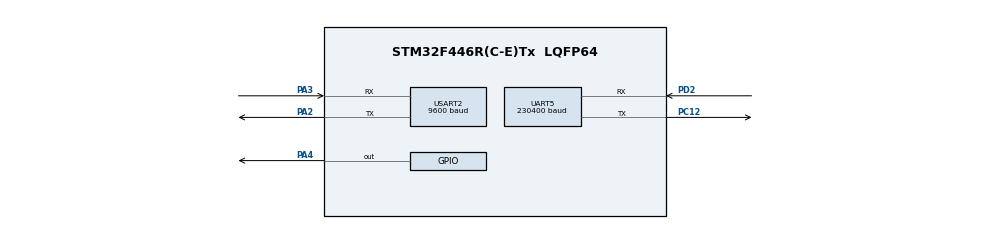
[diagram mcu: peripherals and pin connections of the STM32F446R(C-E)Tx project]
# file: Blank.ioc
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Mcu.Family=STM32F4
Mcu.Name=STM32F446R(C-E)Tx
Mcu.Package=LQFP64
NVIC.PriorityGroup=NVIC_PRIORITYGROUP_4
NVIC.UART5_IRQn=true\:0\:0\:false\:false\:true\:true
NVIC.USART2_IRQn=true\:0\:0\:false\:false\:true\:true
PA2.Mode=Asynchronous
PA2.Signal=USART2_TX
PA3.Mode=Asynchronous
PA3.Signal=USART2_RX
PA4.Signal=GPIO_Output
PC12.Mode=Asynchronous
PC12.Signal=UART5_TX
PD2.Mode=Asynchronous
PD2.Signal=UART5_RX
ProjectManager.HeapSize=0x200
ProjectManager.StackSize=0x400
ProjectManager.TargetToolchain=SW4STM32
RCC.CortexFreq_Value=16000000
RCC.USBFreq_Value=96000000
RCC.VCOOutputFreq_Value=192000000
UART5.BaudRate=230400
UART5.VirtualMode=Asynchronous
USART2.BaudRate=9600
USART2.VirtualMode=VM_ASYNC
board=Blank

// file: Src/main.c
/**
  ******************************************************************************
  * @file           : main.c
  * @brief          : Main program body
  ******************************************************************************
  ** This notice applies to any and all portions of this file
  * that are not between comment pairs USER CODE BEGIN and
  * USER CODE END. Other portions of this file, whether
  * inserted by the user or by software development tools
  * are owned by their respective copyright owners.
  *
  * COPYRIGHT(c) 2018 STMicroelectronics
  *
  * Redistribution and use in source and binary forms, with or without modification,
  * are permitted provided that the following conditions are met:
  *   1. Redistributions of source code must retain the above copyright notice,
  *      this list of conditions and the following disclaimer.
  *   2. Redistributions in binary form must reproduce the above copyright notice,
  *      this list of conditions and the following disclaimer in the documentation
  *      and/or other materials provided with the distribution.
  *   3. Neither the name of STMicroelectronics nor the names of its contributors
  *      may be used to endorse or promote products derived from this software
  *      without specific prior written permission.
  *
  * THIS SOFTWARE IS PROVIDED BY THE COPYRIGHT HOLDERS AND CONTRIBUTORS "AS IS"
  * AND ANY EXPRESS OR IMPLIED WARRANTIES, INCLUDING, BUT NOT LIMITED TO, THE
  * IMPLIED WARRANTIES OF MERCHANTABILITY AND FITNESS FOR A PARTICULAR PURPOSE ARE
  * DISCLAIMED. IN NO EVENT SHALL THE COPYRIGHT HOLDER OR CONTRIBUTORS BE LIABLE
  * FOR ANY DIRECT, INDIRECT, INCIDENTAL, SPECIAL, EXEMPLARY, OR CONSEQUENTIAL
  * DAMAGES (INCLUDING, BUT NOT LIMITED TO, PROCUREMENT OF SUBSTITUTE GOODS OR
  * SERVICES; LOSS OF USE, DATA, OR PROFITS; OR BUSINESS INTERRUPTION) HOWEVER
  * CAUSED AND ON ANY THEORY OF LIABILITY, WHETHER IN CONTRACT, STRICT LIABILITY,
  * OR TORT (INCLUDING NEGLIGENCE OR OTHERWISE) ARISING IN ANY WAY OUT OF THE USE
  * OF THIS SOFTWARE, EVEN IF ADVISED OF THE POSSIBILITY OF SUCH DAMAGE.
  *
  ******************************************************************************
  */
#include "main.h"
#include "stm32f4xx_hal.h"
#include "usart.h"
#include "gpio.h"

/* USER CODE BEGIN Includes */
#include <robotGoal.h>
#include <robotState.h>
#include <stdint.h>
#include "serial.h"
#include "string.h"
/* USER CODE END Includes */

/* USER CODE BEGIN PV */
/* Private variables ---------------------------------------------------------*/

volatile RobotGoal robotGoal, *robotGoalPtr;
volatile unsigned char robotGoalData[sizeof(RobotGoal)];
volatile unsigned char *robotGoalDataPtr;

volatile unsigned char buf[23];

volatile unsigned startSeqCount;
volatile unsigned totalBytesRead;

volatile RobotState robotState, *robotStatePtr;

#define __DYNAMIXEL_TRANSMIT(port, pinNum) HAL_GPIO_WritePin(port, pinNum, 1) // Set data direction pin high (TX)
#define __DYNAMIXEL_RECEIVE(port, pinNum) HAL_GPIO_WritePin(port, pinNum, 0) // Set data direction pin low (RX)
/* USER CODE END PV */

void SystemClock_Config(void);

/* USER CODE BEGIN PFP */
/* Private function prototypes -----------------------------------------------*/

/* USER CODE END PFP */

/* USER CODE BEGIN 0 */
volatile uint8_t flag;
/* USER CODE END 0 */

int main(void)
{

  /* MCU Configuration----------------------------------------------------------*/

  /* Reset of all peripherals, Initializes the Flash interface and the Systick. */
  HAL_Init();

  /* Configure the system clock */
  SystemClock_Config();

  /* Initialize all configured peripherals */
  MX_GPIO_Init();
  MX_UART5_Init();
  MX_USART2_UART_Init();
  /* USER CODE BEGIN 2 */

//  uint8_t buff[84];
//  while(1){
//	  HAL_UART_Receive(&huart5, buff, sizeof(buff), 100);
//	  HAL_UART_Transmit(&huart5, buff, sizeof(buff), 100);
//  }
  	__DYNAMIXEL_RECEIVE(GPIOA, GPIO_PIN_4);

	// Receiving
	robotGoal.id = 0;
	robotGoalPtr = &robotGoal;
	robotGoalDataPtr = robotGoalData;
	startSeqCount = 0;
	totalBytesRead = 0;

	// Sending
	robotState.id = 0;
	robotStatePtr = &robotState;
	robotState.start_seq = UINT32_MAX;
	robotState.end_seq = 0;

  /* USER CODE END 2 */

  /* Infinite loop */
  /* USER CODE BEGIN WHILE */
	while (1) {
		flag = 0;
		HAL_UART_Receive_IT(&huart5, (unsigned char *) buf, sizeof(buf));
		while(!flag);

		robotState.id = robotGoal.id;
		for (int i = 0; i < 80; ++i) {
			robotState.msg[i] = robotGoal.msg[i];
		}
		HAL_UART_Transmit(&huart5, (uint8_t *)robotStatePtr, sizeof(RobotState), 100);
  /* USER CODE END WHILE */

	}

}

void SystemClock_Config(void)
{

  RCC_OscInitTypeDef RCC_OscInitStruct;
  RCC_ClkInitTypeDef RCC_ClkInitStruct;

    /**Configure the main internal regulator output voltage
    */
  __HAL_RCC_PWR_CLK_ENABLE();

  __HAL_PWR_VOLTAGESCALING_CONFIG(PWR_REGULATOR_VOLTAGE_SCALE3);

    /**Initializes the CPU, AHB and APB busses clocks
    */
  RCC_OscInitStruct.OscillatorType = RCC_OSCILLATORTYPE_HSI;
  RCC_OscInitStruct.HSIState = RCC_HSI_ON;
  RCC_OscInitStruct.HSICalibrationValue = 16;
  RCC_OscInitStruct.PLL.PLLState = RCC_PLL_NONE;
  if (HAL_RCC_OscConfig(&RCC_OscInitStruct) != HAL_OK)
  {
    _Error_Handler(__FILE__, __LINE__);
  }

    /**Initializes the CPU, AHB and APB busses clocks
    */
  RCC_ClkInitStruct.ClockType = RCC_CLOCKTYPE_HCLK|RCC_CLOCKTYPE_SYSCLK
                              |RCC_CLOCKTYPE_PCLK1|RCC_CLOCKTYPE_PCLK2;
  RCC_ClkInitStruct.SYSCLKSource = RCC_SYSCLKSOURCE_HSI;
  RCC_ClkInitStruct.AHBCLKDivider = RCC_SYSCLK_DIV1;
  RCC_ClkInitStruct.APB1CLKDivider = RCC_HCLK_DIV1;
  RCC_ClkInitStruct.APB2CLKDivider = RCC_HCLK_DIV1;

  if (HAL_RCC_ClockConfig(&RCC_ClkInitStruct, FLASH_LATENCY_0) != HAL_OK)
  {
    _Error_Handler(__FILE__, __LINE__);
  }

    /**Configure the Systick interrupt time
    */
  HAL_SYSTICK_Config(HAL_RCC_GetHCLKFreq()/1000);

    /**Configure the Systick
    */
  HAL_SYSTICK_CLKSourceConfig(SYSTICK_CLKSOURCE_HCLK);

  /* SysTick_IRQn interrupt configuration */
  HAL_NVIC_SetPriority(SysTick_IRQn, 0, 0);
}

/* USER CODE BEGIN 4 */

void HAL_UART_RxCpltCallback(UART_HandleTypeDef * huart) {
	if (huart == &huart5) {
//		HAL_UART_Abort_IT(&huart5);
		for (int i = 0; i < sizeof(buf); i++) {
			if (startSeqCount == 4) {
				*robotGoalDataPtr = buf[i];
				robotGoalDataPtr++;
				totalBytesRead++;

				if (totalBytesRead == sizeof(RobotGoal)) {

					// Process RobotGoal here
					memcpy(&robotGoal, robotGoalData, sizeof(RobotGoal));

					robotGoalDataPtr = robotGoalData;
					startSeqCount = 0;
					totalBytesRead = 0;
					flag = 1;
					continue;
				}
			} else {
				if (buf[i] == 255)
					startSeqCount++;
				else
					startSeqCount = 0;
			}
		}

		HAL_UART_Receive_IT(&huart5, (unsigned char *) buf, sizeof(buf));
	}
}
/* USER CODE END 4 */

void _Error_Handler(char *file, int line)
{
	while (1) {
	}
}

/************************ (C) COPYRIGHT STMicroelectronics *****END OF FILE****/
